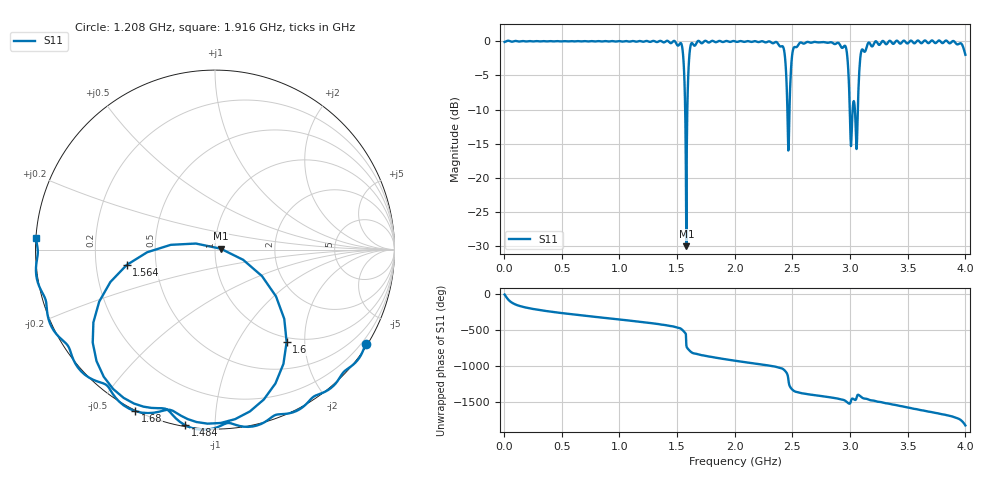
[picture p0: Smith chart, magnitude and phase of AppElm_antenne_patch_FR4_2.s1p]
! TOUCHSTONE file generated by CST MICROWAVE STUDIO
! Date and time: Tue Jun 14 14:10:45 2022
! Project name: AppElm_antenne_patch_FR4.cst
! Parameters = {L=45; W=58.5; e=0.035; h=1.6; lambda=0.190476; ls=120; w0=2.54; w1=0.847; ws=96; y0=18; y1=23.8}
! Header version: 2018
! Port assignment regex: !\s*Touchstone port\s*([0-9]+)\s*=\s*(CST MWS port|CST DS port)\s*([0-9]+|Zmin|Zmax)\s*\(\"(.*)\"\)(\s*mode\s*([0-9]+))?.*
! Touchstone port assignment:
! Touchstone port 1 = CST MWS port 1 ("")
# GHz S MA R 50
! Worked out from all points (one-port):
!   1000 points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, 4 MHz to 4 GHz, reference 50 ohm
!   lowest |S11| = -30.0 dB at 1.58 GHz (marker M1), VSWR 1.07, Z = 53.2 + j0.56 ohm
!   |S11| at or under -10 dB: 1.57 GHz to 1.589 GHz (18.87 MHz wide, 1.2 % of centre); 2.997 GHz to 3.023 GHz (25.27 MHz wide, 0.84 % of centre); 3.041 GHz to 3.067 GHz (25.73 MHz wide, 0.842 % of centre)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
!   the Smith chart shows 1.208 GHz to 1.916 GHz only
!   S11 on the Smith chart (normalised r, x): 1.208 GHz: 0.05, -3.47; 1.484 GHz: 0.01, -0.84; 1.564 GHz: 0.34, -0.08; 1.6 GHz: 0.92, -1.64; 1.68 GHz: -0.00, -0.62; 1.916 GHz: 0.00, +0.03
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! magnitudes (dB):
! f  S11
! 4 MHz  -0.1
! 504 MHz  0.0
! 1.004 GHz  0.0
! 1.208 GHz  -0.1
! 1.484 GHz  -0.1
! 1.504 GHz  -0.6
! 1.544 GHz  -0.9
! 1.564 GHz  -6.0
! 1.58 GHz  -30.0
! 1.6 GHz  -3.7
! 1.608 GHz  -1.7
! 1.62 GHz  -0.4
! 1.68 GHz  0.0
! 1.916 GHz  0.0
! 2.004 GHz  0.0
! 2.408 GHz  -0.7
! 2.432 GHz  -1.8
! 2.464 GHz  -16.0
! 2.504 GHz  -1.3
! 2.576 GHz  -0.2
! 2.952 GHz  -0.7
! 2.972 GHz  -1.7
! 3.004 GHz  -14.2
! 3.052 GHz  -14.4
! 3.096 GHz  -1.5
! 3.156 GHz  -0.3
! 3.504 GHz  -0.3
! 4 GHz  -2.0
